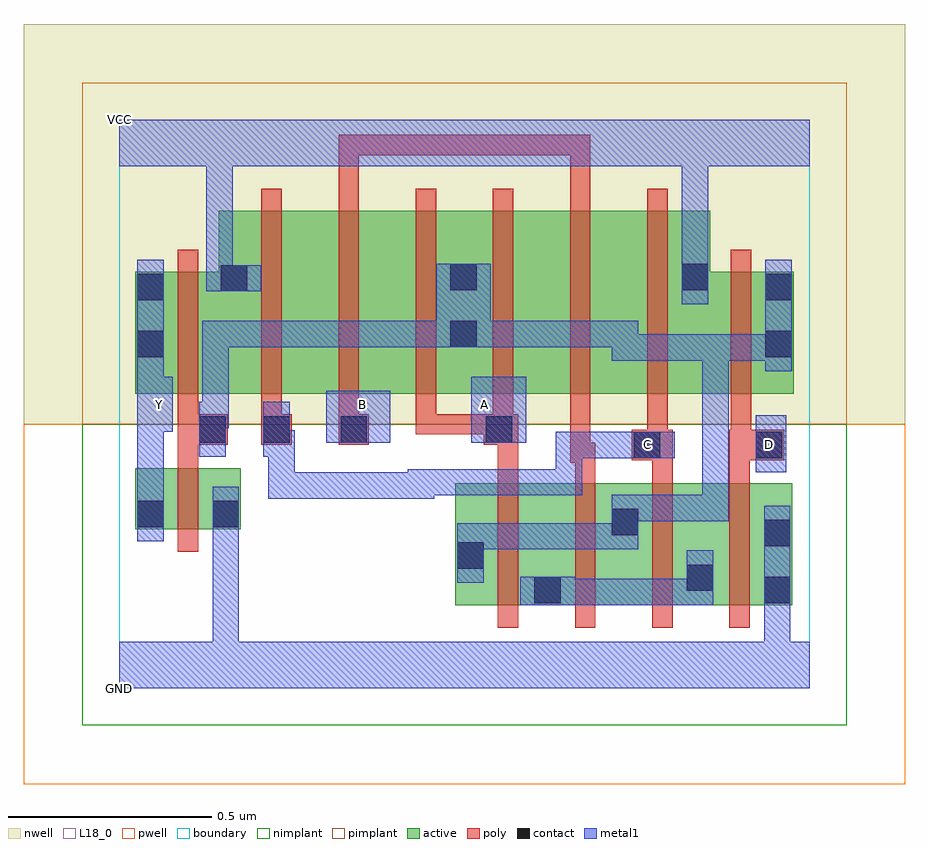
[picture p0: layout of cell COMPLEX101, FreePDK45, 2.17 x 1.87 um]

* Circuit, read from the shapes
.subckt COMPLEX101 A B C D GND VCC Y
M1 GND n1 Y VSUBS nfet w=0.15u l=0.05u
M2 n2 A n1 VSUBS nfet w=0.3u l=0.05u
M3 n1 B n2 VSUBS nfet w=0.3u l=0.05u
M4 n2 C n1 VSUBS nfet w=0.3u l=0.05u
M5 GND D n2 VSUBS nfet w=0.3u l=0.05u
M6 VCC n1 Y n3 pfet w=0.3u l=0.05u
M7 n4 C VCC n3 pfet w=0.45u l=0.05u
M8 n5 B n4 n3 pfet w=0.45u l=0.05u
M9 n1 A n5 n3 pfet w=0.45u l=0.05u
M10 n6 A n1 n3 pfet w=0.45u l=0.05u
M11 n7 B n6 n3 pfet w=0.45u l=0.05u
M12 VCC C n7 n3 pfet w=0.45u l=0.05u
M13 n1 D VCC n3 pfet w=0.3u l=0.05u
.ends

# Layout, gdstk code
import gdstk
lib = gdstk.Library(unit=1e-6, precision=1e-09)
def R(c, l, rs):  # rectangles x0, y0, x1, y1
    for r in rs: c.add(gdstk.rectangle(r[:2], r[2:], *l))
def A(c, l, x, y, w, h, nx, ny, dx, dy):  # array of equal rectangles
    R(c, l, [(x+i*dx, y+j*dy, x+i*dx+w, y+j*dy+h) for i in range(nx) for j in range(ny)])
active = (1, 0)
pwell = (2, 0)
nwell = (3, 0)
nimplant = (4, 0)
pimplant = (5, 0)
poly = (9, 0)
contact = (10, 0)
metal1 = (11, 0)
L18_0 = (18, 0)
boundary = (235, 0)

complex101 = lib.new_cell('COMPLEX101')
R(complex101, active, [(0.827,0.205,0.902,0.505), (0.827,0.205,1.092,0.505), (1.017,0.205,1.282,0.505), (1.017,0.205,1.092,0.392), (1.207,0.205,1.467,0.505), (1.392,0.205,1.657,0.505), (1.392,0.205,1.467,0.392), (1.582,0.205,1.657,0.505), (1.207,0.295,1.282,0.447), (0.04,0.392,0.115,0.542), (0.04,0.392,0.3,0.542), (0.225,0.392,0.3,0.542), (0.04,0.725,0.115,1.025), (0.04,0.725,0.32,1.025), (0.245,0.725,0.47,1.175), (0.245,0.725,0.32,1.047), (0.47,0.725,0.66,1.175), (0.66,0.725,0.885,1.175), (0.81,0.725,1.04,1.175), (0.81,0.725,0.885,1.175), (1.04,0.725,1.23,1.175), (1.23,0.725,1.455,1.175), (1.38,0.725,1.66,1.025), (1.585,0.725,1.66,1.025), (1.38,0.785,1.455,1.05)])
R(complex101, pwell, [(-0.235,-0.235,1.935,0.65)])
R(complex101, nwell, [(-0.235,0.65,1.935,1.635)])
R(complex101, nimplant, [(-0.09,-0.09,1.79,0.65)])
R(complex101, pimplant, [(-0.09,0.65,1.79,1.49)])
A(complex101, poly, 0.932, 0.15, 0.05, 0.41, 4, 1, 0.19, 0)
A(complex101, poly, 0.35, 0.625, 0.05, 0.095, 4, 1, 0.19, 0)
A(complex101, poly, 0.35, 0.67, 0.05, 0.56, 6, 1, 0.19, 0)
R(complex101, poly, [(0.145,0.337,0.195,0.597), (0.932,0.51,0.982,0.65), (1.122,0.51,1.172,0.605), (1.312,0.51,1.362,0.612), (1.502,0.51,1.552,0.612), (0.145,0.547,0.195,0.65), (1.11,0.555,1.16,0.72), (1.11,0.555,1.172,0.605), (1.262,0.562,1.362,0.637), (1.502,0.562,1.637,0.637), (1.3,0.587,1.35,0.72), (1.505,0.587,1.555,0.72), (0.145,0.6,0.267,0.675), (0.35,0.6,0.425,0.675), (0.54,0.6,0.615,0.675), (0.897,0.6,0.982,0.675), (0.145,0.625,0.195,0.72), (0.73,0.625,0.78,0.675), (0.73,0.625,0.947,0.675), (0.897,0.625,0.947,0.675), (0.897,0.625,0.947,0.675), (0.145,0.67,0.195,1.08), (1.505,0.67,1.555,1.08), (0.54,1.18,0.59,1.362), (1.11,1.18,1.16,1.362), (0.54,1.312,0.59,1.362), (0.54,1.312,0.59,1.362), (0.54,1.312,0.59,1.362), (0.54,1.312,0.76,1.362), (0.71,1.312,0.76,1.362), (0.71,1.312,0.76,1.362), (0.71,1.312,0.76,1.362), (0.71,1.312,0.912,1.362), (0.862,1.312,0.912,1.362), (0.862,1.312,1.16,1.362), (1.11,1.312,1.16,1.362), (1.11,1.312,1.16,1.362), (1.11,1.312,1.16,1.362)])
R(complex101, contact, [(1.022,0.21,1.087,0.275), (1.587,0.21,1.652,0.275), (1.397,0.24,1.462,0.305), (0.832,0.295,0.897,0.36), (1.587,0.35,1.652,0.415), (1.212,0.377,1.277,0.442), (0.045,0.397,0.11,0.462), (0.23,0.397,0.295,0.462), (1.267,0.567,1.332,0.632), (1.567,0.567,1.632,0.632), (0.197,0.605,0.262,0.67), (0.355,0.605,0.42,0.67), (0.545,0.605,0.61,0.67), (0.902,0.605,0.967,0.67), (0.045,0.815,0.11,0.88), (1.59,0.815,1.655,0.88), (0.815,0.84,0.88,0.905), (0.045,0.955,0.11,1.02), (1.59,0.955,1.655,1.02), (0.25,0.977,0.315,1.042), (0.815,0.98,0.88,1.045), (1.385,0.98,1.45,1.045)])
R(complex101, metal1, [(0,0,1.7,0.115), (0.23,0.05,0.295,0.115), (0.23,0.05,0.295,0.115), (0.23,0.05,0.295,0.115), (0.23,0.05,0.295,0.115), (0.23,0.05,0.295,0.427), (1.587,0.05,1.652,0.115), (1.587,0.05,1.652,0.115), (1.587,0.05,1.652,0.24), (1.587,0.175,1.652,0.45), (0.987,0.205,1.122,0.275), (1.057,0.205,1.14,0.27), (1.075,0.205,1.14,0.27), (1.075,0.205,1.277,0.27), (1.212,0.205,1.277,0.27), (1.212,0.205,1.277,0.27), (1.212,0.205,1.277,0.27), (1.212,0.205,1.462,0.27), (1.397,0.205,1.462,0.34), (0.832,0.26,0.897,0.395), (0.832,0.33,0.897,0.395), (0.832,0.33,0.897,0.407), (0.832,0.342,1.14,0.407), (1.075,0.342,1.14,0.407), (1.075,0.342,1.14,0.407), (1.075,0.342,1.14,0.407), (1.075,0.342,1.277,0.407), (1.212,0.342,1.277,0.407), (1.212,0.342,1.277,0.407), (1.212,0.342,1.277,0.477), (0.045,0.362,0.11,0.497), (0.23,0.362,0.295,0.497), (1.212,0.412,1.277,0.477), (1.212,0.412,1.277,0.477), (1.212,0.412,1.5,0.477), (1.435,0.412,1.5,0.477), (1.435,0.412,1.5,0.477), (1.435,0.412,1.5,0.477), (1.435,0.412,1.5,0.872), (0.045,0.432,0.11,0.697), (0.367,0.467,0.432,0.532), (0.367,0.467,0.57,0.532), (0.367,0.467,0.432,0.635), (0.505,0.467,0.57,0.532), (0.505,0.467,0.57,0.532), (0.505,0.467,0.57,0.532), (0.505,0.467,0.707,0.532), (0.642,0.467,0.707,0.532), (0.642,0.467,0.775,0.532), (0.71,0.467,0.775,0.54), (0.71,0.475,0.845,0.54), (0.78,0.475,0.845,0.54), (0.78,0.475,1.14,0.54), (1.075,0.475,1.14,0.54), (1.075,0.475,1.14,0.632), (1.567,0.532,1.642,0.672), (1.075,0.567,1.14,0.632), (1.075,0.567,1.14,0.632), (1.075,0.567,1.14,0.632), (1.075,0.567,1.297,0.632), (1.232,0.567,1.297,0.632), (1.232,0.567,1.297,0.632), (1.232,0.567,1.367,0.632), (0.197,0.57,0.262,0.705), (0.355,0.57,0.42,0.705), (0.355,0.57,0.432,0.635), (0.367,0.57,0.432,0.635), (0.51,0.605,0.667,0.732), (0.867,0.605,1.002,0.767), (0.045,0.632,0.132,0.767), (0.197,0.64,0.27,0.705), (0.205,0.64,0.27,0.705), (0.205,0.64,0.27,0.905), (0.045,0.702,0.11,0.845), (0.045,0.78,0.11,1.055), (1.59,0.78,1.655,1.055), (1.212,0.807,1.277,0.872), (1.212,0.807,1.277,0.872), (1.212,0.807,1.5,0.872), (1.212,0.807,1.277,0.905), (1.435,0.807,1.5,0.872), (1.435,0.807,1.655,0.872), (1.59,0.807,1.655,0.872), (1.59,0.807,1.655,0.872), (0.205,0.84,0.27,0.905), (0.205,0.84,0.432,0.905), (0.367,0.84,0.432,0.905), (0.367,0.84,0.432,0.905), (0.367,0.84,0.432,0.905), (0.367,0.84,0.57,0.905), (0.505,0.84,0.57,0.905), (0.505,0.84,0.57,0.905), (0.505,0.84,0.57,0.905), (0.505,0.84,0.707,0.905), (0.642,0.84,0.707,0.905), (0.642,0.84,0.845,0.905), (0.78,0.84,0.915,1.045), (0.85,0.84,0.915,0.905), (0.85,0.84,0.915,0.905), (0.85,0.84,1.14,0.905), (1.075,0.84,1.14,0.905), (1.075,0.84,1.14,0.905), (1.075,0.84,1.14,0.905), (1.075,0.84,1.277,0.905), (1.385,0.945,1.45,1.08), (0.215,0.977,0.28,1.042), (0.215,0.977,0.28,1.042), (0.215,0.977,0.35,1.042), (0.215,0.977,0.28,1.35), (1.385,1.015,1.45,1.35), (0,1.285,1.7,1.4), (1.385,1.285,1.45,1.35), (1.385,1.285,1.45,1.35)])
R(complex101, L18_0, [(0,0,1.7,0.115), (0.23,0.05,0.295,0.115), (0.23,0.05,0.295,0.115), (0.23,0.05,0.295,0.115), (0.23,0.05,0.295,0.115), (0.23,0.05,0.295,0.427), (1.587,0.05,1.652,0.115), (1.587,0.05,1.652,0.115), (1.587,0.05,1.652,0.24), (1.587,0.175,1.652,0.45), (0.045,0.362,0.11,0.497), (0.23,0.362,0.295,0.497), (0.045,0.432,0.11,0.697), (0.367,0.467,0.432,0.532), (0.367,0.467,0.432,0.635), (0.367,0.467,0.57,0.532), (0.505,0.467,0.57,0.532), (0.505,0.467,0.57,0.532), (0.505,0.467,0.57,0.532), (0.505,0.467,0.707,0.532), (0.642,0.467,0.707,0.532), (0.642,0.467,0.775,0.532), (0.71,0.467,0.775,0.54), (0.71,0.475,0.845,0.54), (0.78,0.475,0.845,0.54), (0.78,0.475,1.14,0.54), (1.075,0.475,1.14,0.54), (1.075,0.475,1.14,0.632), (1.567,0.532,1.642,0.672), (1.075,0.567,1.14,0.632), (1.075,0.567,1.14,0.632), (1.075,0.567,1.14,0.632), (1.075,0.567,1.297,0.632), (1.232,0.567,1.297,0.632), (1.232,0.567,1.297,0.632), (1.232,0.567,1.367,0.632), (1.267,0.567,1.332,0.632), (1.567,0.567,1.632,0.632), (0.355,0.57,0.42,0.705), (0.355,0.57,0.432,0.635), (0.367,0.57,0.432,0.635), (0.51,0.605,0.667,0.732), (0.867,0.605,1.002,0.767), (0.045,0.632,0.132,0.767), (0.067,0.667,0.132,0.732), (0.567,0.667,0.632,0.732), (0.867,0.667,0.932,0.732), (0.045,0.702,0.11,0.845), (0.045,0.78,0.11,1.055), (1.385,0.945,1.45,1.08), (0.215,0.977,0.28,1.042), (0.215,0.977,0.28,1.042), (0.215,0.977,0.35,1.042), (0.215,0.977,0.28,1.35), (1.385,1.015,1.45,1.35), (0,1.285,1.7,1.4), (1.385,1.285,1.45,1.35), (1.385,1.285,1.45,1.35)])
R(complex101, boundary, [(0,0,1.7,1.4)])
complex101.add(gdstk.Label('A', (0.9,0.7), layer=11, texttype=0))
complex101.add(gdstk.Label('B', (0.6,0.7), layer=11, texttype=0))
complex101.add(gdstk.Label('C', (1.3,0.6), layer=11, texttype=0))
complex101.add(gdstk.Label('D', (1.6,0.6), layer=11, texttype=0))
complex101.add(gdstk.Label('Y', (0.1,0.7), layer=11, texttype=0))
complex101.add(gdstk.Label('VCC', (0,1.4), layer=11, texttype=0))
complex101.add(gdstk.Label('GND', (0,0), layer=11, texttype=0))

lib.write_gds('COMPLEX101.gds')
